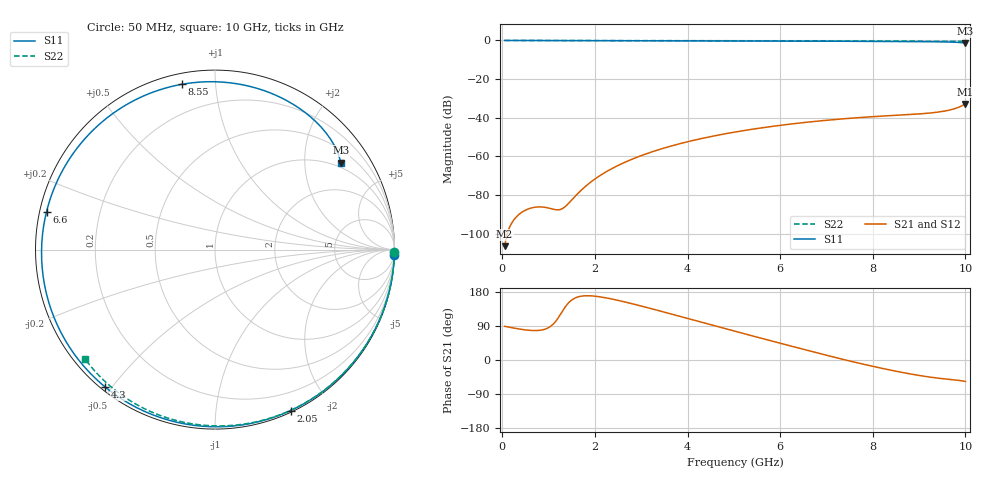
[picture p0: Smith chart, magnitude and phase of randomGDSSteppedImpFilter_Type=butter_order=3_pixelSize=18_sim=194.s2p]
! freq	dB(S11)	phase(S11)	dB(S12)	phase(S12)
!  dB(S21)	phase(S21)	dB(S22)	phase(S22)
!S-par simulation data
#  GHz  S  DB  R 50
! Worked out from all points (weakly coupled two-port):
!   200 points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, 50 MHz to 10 GHz, reference 50 ohm
!   highest |S21| = -32.83 dB at 10 GHz (marker M1); lowest = -106.5 dB at 50 MHz (marker M2)
!   lowest |S11| = -1.4 dB at 10 GHz (marker M3), VSWR 12.59, Z = 42 + j150 ohm
!   |S11| at or under -10 dB: nowhere
!   |S22| runs from -0.5 to 0.0 dB; largest |S21 - S12| = 0
!   S11 on the Smith chart (normalised r, x): 50 MHz: 0, -69; 2.05 GHz: 0.02, -1.57; 4.3 GHz: 0.01, -0.48; 6.6 GHz: 0.02, +0.11; 8.55 GHz: 0.05, +0.82; 10 GHz: 0.84, +2.99
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0.05  -0.00 -1.7  -106.52 88.9  -106.52 88.9  -0.00 -0.8
0.4  -0.02 -13.0  -89.31 81.0  -89.31 81.0  -0.01 -6.5
0.8  -0.03 -25.9  -86.18 78.2  -86.18 78.2  -0.02 -12.9
1.6  -0.06 -51.2  -80.02 165.0  -80.02 165.0  -0.03 -25.6
1.75  -0.07 -55.8  -76.53 169.1  -76.53 169.1  -0.04 -27.9
2.05  -0.08 -64.9  -70.91 167.7  -70.91 167.7  -0.04 -32.6
2.65  -0.10 -82.6  -63.05 153.1  -63.05 153.1  -0.05 -41.8
3.4  -0.13 -103.9  -56.40 129.5  -56.40 129.5  -0.07 -53.1
4.3  -0.17 -128.7  -50.79 99.8  -50.79 99.8  -0.09 -66.2
5.05  -0.22 -149.0  -47.32 75.1  -47.32 75.1  -0.12 -76.7
5.85  -0.27 -171.0  -44.42 49.1  -44.42 49.1  -0.15 -87.6
6.6  -0.34 167.3  -42.29 25.2  -42.29 25.2  -0.19 -97.5
6.7  -0.35 164.3  -42.04 22.0  -42.04 22.0  -0.19 -98.8
7.1  -0.38 152.0  -41.12 9.5  -41.12 9.5  -0.22 -104.0
7.5  -0.43 139.1  -40.31 -2.6  -40.31 -2.6  -0.24 -109.0
7.9  -0.47 125.4  -39.62 -14.0  -39.62 -14.0  -0.27 -114.1
8.35  -0.52 109.1  -38.98 -25.8  -38.98 -25.8  -0.31 -119.7
8.55  -0.54 101.4  -38.71 -30.8  -38.71 -30.8  -0.32 -122.1
8.95  -0.60 85.4  -38.14 -39.7  -38.14 -39.7  -0.36 -127.1
9.35  -0.68 68.2  -37.28 -47.0  -37.28 -47.0  -0.40 -132.0
9.7  -0.84 51.7  -35.79 -51.7  -35.79 -51.7  -0.44 -136.2
10  -1.38 34.7  -32.83 -56.7  -32.83 -56.7  -0.48 -139.9
